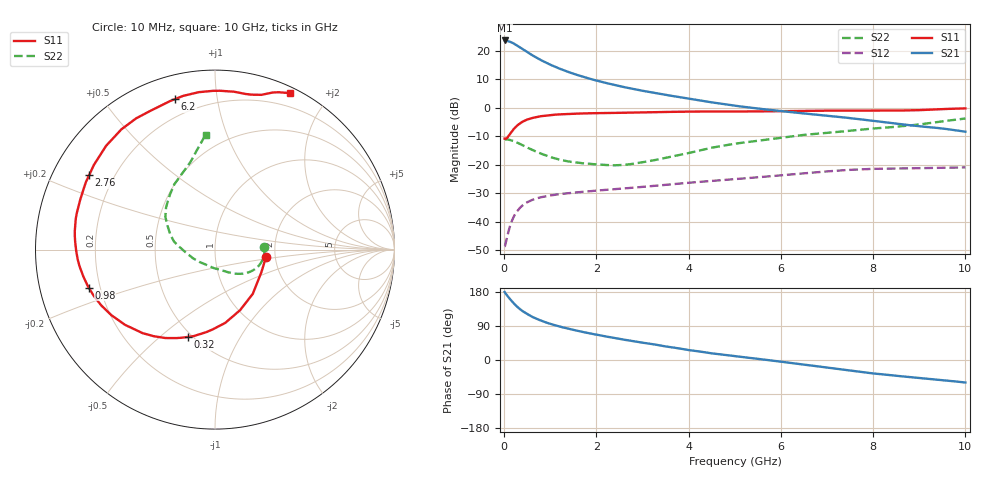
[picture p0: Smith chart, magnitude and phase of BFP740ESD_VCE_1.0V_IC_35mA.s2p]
! Infineon Technologies  Discrete & RF Semiconductors
! BFP740ESD
! VCE =  1.0 V,  IC =  35 mA
! Common Emitter S-Parameters:  Jan 2016
# GHz  S  MA  R  50
!  f  S11  S21  S12  S22
! GHz  MAG  ANG  MAG  ANG  MAG  ANG  MAG  ANG
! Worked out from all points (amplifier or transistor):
!   233 points, 10 MHz to 10 GHz, reference 50 ohm
!   highest |S21| = 23.5 dB at 10 MHz (marker M1)
!   |S21| within 3 dB of that: start of sweep to 396.7 MHz
!   unconditionally stable (mu >= 1): start of sweep to 9.97 GHz
!   at 200 MHz: K = 2.47, MAG = 23.8 dB, |S12| = -38.6 dB
!   at 1.74 GHz: K = 1.62, MAG = 15.5 dB, |S12| = -29.5 dB
!   at 10 GHz: K = 0.98, MSG = 6.3 dB, |S12| = -21.0 dB
!   S11 on the Smith chart (normalised r, x): 10 MHz: 1.78, -0.17; 320 MHz: 0.47, -0.62; 980 MHz: 0.16, -0.14; 2.76 GHz: 0.11, +0.27; 6.2 GHz: 0.11, +0.76; 10 GHz: 0.06, +1.59
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0.01  0.2854 -8.6  15.02 179.5  0.0037 5.7  0.2721 2.5
0.02  0.2851 -11.6  14.95 177.2  0.0038 18.6  0.2762 -1.7
0.1  0.324 -49.4  14.55 164.6  0.007 48.8  0.2738 -10.9
0.155  0.3688 -69.1  13.96 156.5  0.0096 53.0  0.2658 -16.7
0.2  0.4124 -82.1  13.39 150.4  0.0118 52.9  0.2586 -21.1
0.24  0.4458 -91.9  12.78 145.5  0.0136 52.2  0.251 -24.5
0.32  0.5097 -107.4  11.67 136.7  0.0166 49.7  0.2345 -31.0
0.4  0.565 -119.3  10.59 128.9  0.0192 46.8  0.2187 -36.7
0.45  0.5916 -125.4  9.964 124.9  0.0206 45.1  0.2088 -39.8
0.6  0.6535 -140.1  8.352 114.3  0.0238 40.4  0.1822 -47.8
0.8  0.7057 -153.8  6.776 103.8  0.0267 35.9  0.1551 -56.4
0.98  0.7344 -163.2  5.749 96.2  0.0285 33.2  0.1372 -63.3
1.3  0.7668 -175.8  4.482 85.2  0.0309 30.2  0.1169 -74.9
1.68  0.7869 173.1  3.529 74.7  0.0331 28.9  0.1058 -88.2
2.2  0.7999 160.6  2.706 62.2  0.0359 28.2  0.0983 -106.3
2.76  0.8146 149.4  2.146 50.4  0.039 28.2  0.1022 -131.0
3.4  0.8336 138.1  1.725 38.0  0.0433 27.8  0.1261 -155.0
5.1  0.8527 115.2  1.052 8.7  0.0563 23.7  0.2376 167.5
6.2  0.8677 104.8  0.834 -7.4  0.0668 19.1  0.3095 150.4
6.8  0.8778 98.2  0.745 -16.8  0.0735 14.8  0.3478 142.0
8.4  0.8837 78.8  0.532 -40.4  0.0848 -0.7  0.453 115.3
10  0.9668 64.4  0.377 -59.4  0.0891 -12.9  0.6417 94.7
